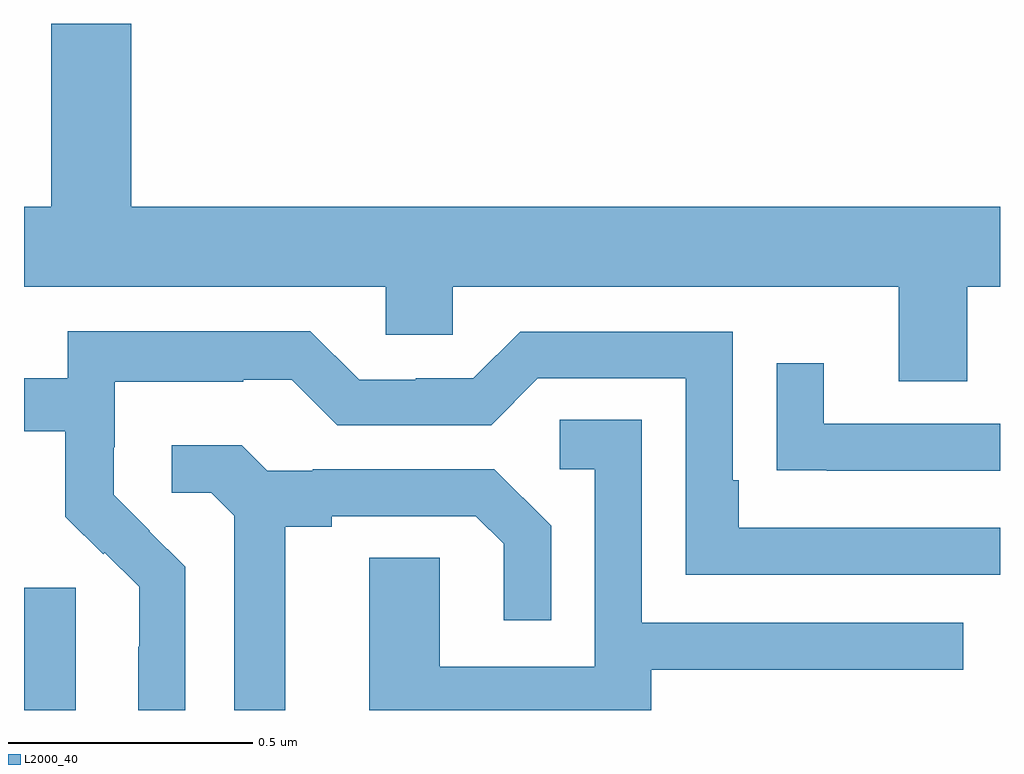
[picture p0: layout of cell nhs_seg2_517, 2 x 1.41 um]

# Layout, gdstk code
import gdstk
lib = gdstk.Library(unit=1e-6, precision=1e-09)
def R(c, l, rs):  # rectangles x0, y0, x1, y1
    for r in rs: c.add(gdstk.rectangle(r[:2], r[2:], *l))
def P(c, l, *ps):  # polygons
    for p in ps: c.add(gdstk.Polygon(p, *l))
L2000_40 = (2000, 40)

nhs_seg2_517 = lib.new_cell('nhs_seg2_517')
R(nhs_seg2_517, L2000_40, [(117,614.8,117.106,615.051)])
P(nhs_seg2_517, L2000_40, [(118.933,615.668),(119,615.668),(119,615.832),(117.22,615.832),(117.22,616.207),(117.056,616.207),(117.056,615.832),(117,615.832),(117,615.668),(117.741,615.668),(117.741,615.57),(117.879,615.57),(117.879,615.668),(118.793,615.668),(118.793,615.474),(118.933,615.474)],
  [(117.33,615.094),(117.257,615.167),(117.258,615.168),(117.184,615.242),(117.184,615.339),(117.186,615.339),(117.186,615.473),(117.449,615.473),(117.449,615.477),(117.549,615.477),(117.642,615.384),(117.957,615.384),(118.053,615.48),(118.356,615.48),(118.356,615.078),(119,615.078),(119,615.174),(118.465,615.174),(118.465,615.271),(118.452,615.271),(118.452,615.576),(118.017,615.576),(117.921,615.48),(117.803,615.48),(117.803,615.477),(117.687,615.477),(117.587,615.577),(117.09,615.577),(117.09,615.48),(117,615.48),(117,615.372),(117.085,615.372),(117.085,615.197),(117.162,615.12),(117.165,615.123),(117.236,615.053),(117.236,614.93),(117.234,614.93),(117.234,614.8),(117.33,614.8)],
  [(119,615.387),(118.639,615.387),(118.639,615.511),(118.543,615.511),(118.543,615.292),(118.645,615.292),(118.645,615.291),(119,615.291)],
  [(118.285,614.883),(118.925,614.883),(118.925,614.979),(118.266,614.979),(118.266,615.395),(118.098,615.395),(118.098,615.294),(118.17,615.294),(118.17,614.889),(117.852,614.889),(117.852,615.113),(117.707,615.113),(117.707,614.8),(118.285,614.8)],
  [(117.535,615.176),(117.631,615.176),(117.631,615.198),(117.926,615.198),(117.983,615.141),(117.983,614.985),(118.08,614.985),(118.08,615.178),(117.964,615.294),(117.592,615.294),(117.592,615.291),(117.498,615.291),(117.446,615.343),(117.303,615.343),(117.303,615.246),(117.384,615.246),(117.431,615.199),(117.431,614.8),(117.535,614.8)])

lib.write_gds('nhs_seg2_517.gds')
